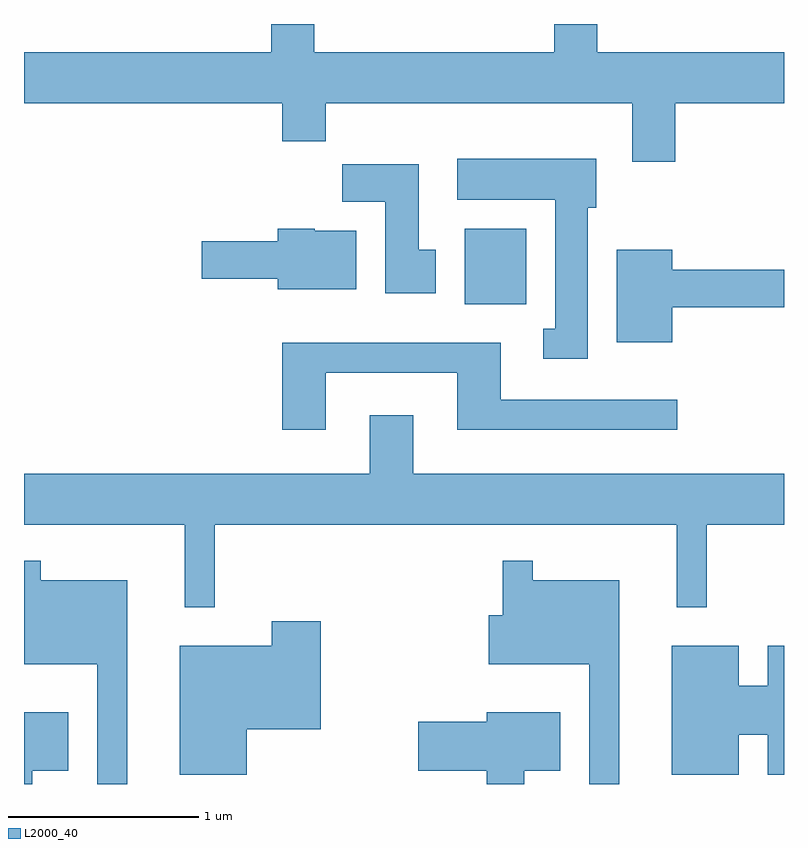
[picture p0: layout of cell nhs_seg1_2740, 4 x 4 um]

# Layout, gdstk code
import gdstk
lib = gdstk.Library(unit=1e-6, precision=1e-09)
def R(c, l, rs):  # rectangles x0, y0, x1, y1
    for r in rs: c.add(gdstk.rectangle(r[:2], r[2:], *l))
def P(c, l, *ps):  # polygons
    for p in ps: c.add(gdstk.Polygon(p, *l))
L2000_40 = (2000, 40)

nhs_seg1_2740 = lib.new_cell('nhs_seg1_2740')
R(nhs_seg1_2740, L2000_40, [(269.931,956.236,270.254,956.634)])
P(nhs_seg1_2740, L2000_40, [(271.039,957.296),(271.611,957.296),(271.611,957.564),(270.629,957.564),(270.629,957.712),(270.401,957.712),(270.401,957.564),(269.139,957.564),(269.139,957.712),(268.911,957.712),(268.911,957.564),(267.611,957.564),(267.611,957.296),(268.971,957.296),(268.971,957.096),(269.199,957.096),(269.199,957.296),(270.811,957.296),(270.811,956.986),(271.039,956.986)],
  [(270.579,956.746),(270.624,956.746),(270.624,957.004),(269.891,957.004),(269.891,956.786),(270.406,956.786),(270.406,956.109),(270.343,956.109),(270.343,955.951),(270.579,955.951)],
  [(269.779,956.524),(269.689,956.524),(269.689,956.974),(269.286,956.974),(269.286,956.776),(269.511,956.776),(269.511,956.296),(269.779,956.296)],
  [(269.359,956.624),(269.14,956.624),(269.14,956.634),(268.946,956.634),(268.946,956.569),(268.546,956.569),(268.546,956.371),(268.946,956.371),(268.946,956.316),(269.359,956.316)],
  [(271.024,956.221),(271.611,956.221),(271.611,956.419),(271.024,956.419),(271.024,956.524),(270.731,956.524),(270.731,956.036),(271.024,956.036)],
  [(269.199,955.876),(269.891,955.876),(269.891,955.576),(271.048,955.576),(271.048,955.734),(270.119,955.734),(270.119,956.034),(268.971,956.034),(268.971,955.576),(269.199,955.576)],
  [(268.614,955.076),(271.046,955.076),(271.046,954.643),(271.204,954.643),(271.204,955.076),(271.611,955.076),(271.611,955.344),(269.659,955.344),(269.659,955.654),(269.431,955.654),(269.431,955.344),(267.611,955.344),(267.611,955.076),(268.456,955.076),(268.456,954.643),(268.614,954.643)],
  [(268.154,954.784),(267.699,954.784),(267.699,954.888),(267.611,954.888),(267.611,954.341),(267.996,954.341),(267.996,953.712),(268.154,953.712)],
  [(270.744,954.784),(270.289,954.784),(270.289,954.888),(270.131,954.888),(270.131,954.599),(270.056,954.599),(270.056,954.341),(270.586,954.341),(270.586,953.712),(270.744,953.712)],
  [(268.784,954.001),(269.174,954.001),(269.174,954.569),(268.916,954.569),(268.916,954.439),(268.431,954.439),(268.431,953.761),(268.784,953.761)],
  [(271.374,953.971),(271.526,953.971),(271.526,953.761),(271.611,953.761),(271.611,954.439),(271.526,954.439),(271.526,954.229),(271.374,954.229),(271.374,954.439),(271.021,954.439),(271.021,953.761),(271.374,953.761)],
  [(270.244,953.781),(270.434,953.781),(270.434,954.089),(270.046,954.089),(270.046,954.039),(269.686,954.039),(269.686,953.781),(270.046,953.781),(270.046,953.712),(270.244,953.712)],
  [(267.654,953.781),(267.844,953.781),(267.844,954.089),(267.611,954.089),(267.611,953.712),(267.654,953.712)])

lib.write_gds('nhs_seg1_2740.gds')
